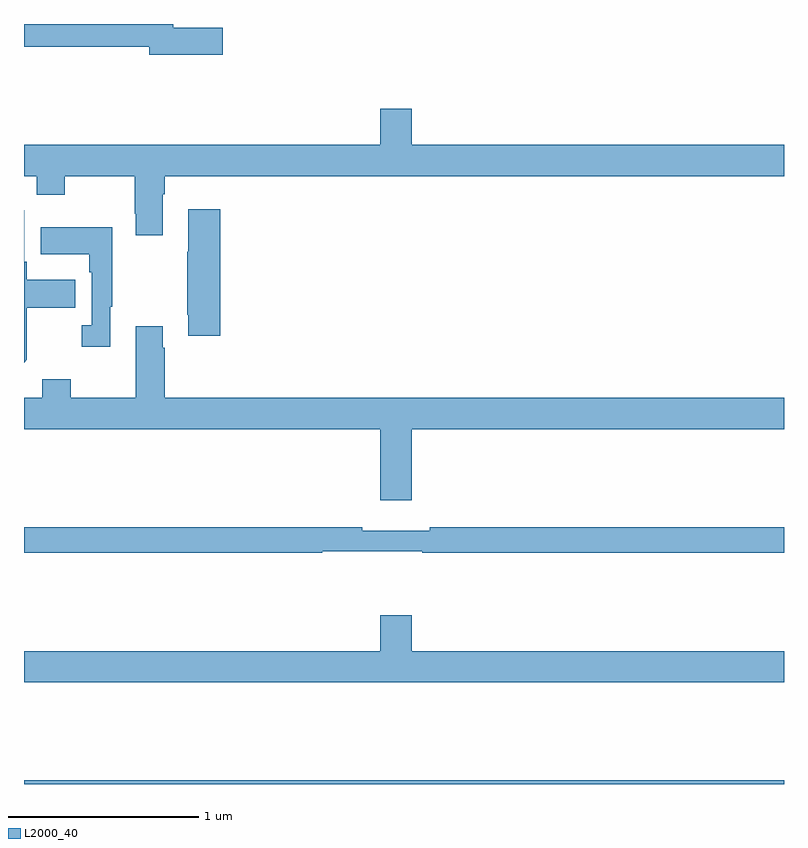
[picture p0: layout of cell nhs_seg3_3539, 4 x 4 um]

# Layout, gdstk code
import gdstk
lib = gdstk.Library(unit=1e-6, precision=1e-09)
def R(c, l, rs):  # rectangles x0, y0, x1, y1
    for r in rs: c.add(gdstk.rectangle(r[:2], r[2:], *l))
def P(c, l, *ps):  # polygons
    for p in ps: c.add(gdstk.Polygon(p, *l))
L2000_40 = (2000, 40)

nhs_seg3_3539 = lib.new_cell('nhs_seg3_3539')
R(nhs_seg3_3539, L2000_40, [(295,680.4,299,680.42)])
P(nhs_seg3_3539, L2000_40, [(296.047,684.38),(295.786,684.38),(295.786,684.4),(295,684.4),(295,684.28),(295.658,684.28),(295.658,684.238),(296.047,684.238)],
  [(295.729,683.504),(295.742,683.504),(295.742,683.6),(299,683.6),(299,683.764),(297.04,683.764),(297.04,683.953),(296.876,683.953),(296.876,683.764),(295,683.764),(295,683.6),(295.068,683.6),(295.068,683.501),(295.215,683.501),(295.215,683.6),(295.582,683.6),(295.582,683.401),(295.589,683.401),(295.589,683.289),(295.729,683.289)],
  [(296.033,683.425),(295.865,683.425),(295.865,683.201),(295.858,683.201),(295.858,682.87),(295.865,682.87),(295.865,682.758),(296.033,682.758)],
  [(295.015,682.633),(295.015,682.906),(295.271,682.906),(295.271,683.053),(295.015,683.053),(295.015,683.149),(295.002,683.149),(295.002,683.418),(295,683.42),(295,682.618)],
  [(295.453,682.913),(295.465,682.913),(295.465,683.329),(295.087,683.329),(295.087,683.189),(295.344,683.189),(295.344,683.093),(295.356,683.093),(295.356,682.814),(295.305,682.814),(295.305,682.701),(295.453,682.701)],
  [(297.04,682.268),(299,682.268),(299,682.432),(295.742,682.432),(295.742,682.697),(295.729,682.697),(295.729,682.81),(295.589,682.81),(295.589,682.432),(295.245,682.432),(295.245,682.531),(295.097,682.531),(295.097,682.432),(295,682.432),(295,682.268),(296.876,682.268),(296.876,681.894),(297.04,681.894)],
  [(296.57,681.624),(297.095,681.624),(297.095,681.616),(299,681.616),(299,681.752),(297.136,681.752),(297.136,681.733),(296.78,681.733),(296.78,681.752),(295,681.752),(295,681.616),(296.57,681.616)],
  [(299,681.1),(297.04,681.1),(297.04,681.289),(296.876,681.289),(296.876,681.1),(295,681.1),(295,680.936),(299,680.936)])

lib.write_gds('nhs_seg3_3539.gds')
